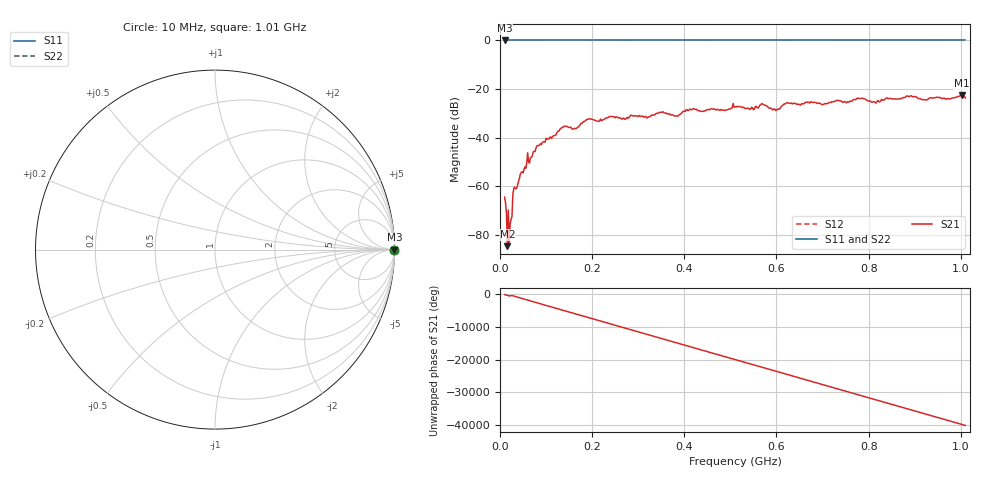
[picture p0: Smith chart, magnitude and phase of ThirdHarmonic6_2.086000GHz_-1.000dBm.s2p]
! 8/17/2025 12:58:29 AM
! C:\ANRITSUVNA\TEMP\TEMP.S2P
! CHANNEL.1
! TR.MEASUREMENT
! RAW.DATA
! RF.CORRECTION.OFF
! AVERAGING.OFF
! IF.BANDWIDTH: 5KHZ
! SWEEPTYPE:  FREQ.SWEEP(Linear)
! Reference Plane Port Info
! PORT:  PORT1  PORT2
! DISTANCE:  0  m  0  m
! TIME:  0  s  0  s
! PHASE.OFFSET:  0  deg.  0  deg.
! LOSS:  0  dB  0  dB
! REF.LOSS:  0  dB  0  dB
! REF.FREQ:  0  Hz  0  Hz
! Power Info
! POWER:  -20  dBm  -20  dBm
! EFF.POWER:  -20  dBm  -20  dBm
! SOURCE.ATTEN:  0  dB  0  dB
! TEST.ATTEN:  0  dB  0  dB
# GHZ S RI R 50.0
! FREQ.GHZ  S11RE  S11IM  S21RE  S21IM  S12RE  S12IM  S22RE  S22IM
!; PortSelection: Port_12
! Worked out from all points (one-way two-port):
!   501 points, 10 MHz to 1.01 GHz, reference 50 ohm
!   highest |S21| = -22.53 dB at 1.002 GHz (marker M1); lowest = -84.5 dB at 16 MHz (marker M2)
!   lowest |S11| = 0.0 dB at 10 MHz (marker M3)
!   |S11| at or under -10 dB: nowhere
!   |S22| runs from 0.0 to 0.0 dB; largest |S21 - S12| = 1.1
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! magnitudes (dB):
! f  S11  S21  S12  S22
! 10 MHz  0.0  -64.4  0.0  0.0
! 16 MHz  0.0  -84.5  0.0  0.0
! 20 MHz  0.0  -83.7  0.0  0.0
! 24 MHz  0.0  -73.6  0.0  0.0
! 32 MHz  0.0  -60.3  0.0  0.0
! 44 MHz  0.0  -54.9  0.0  0.0
! 82 MHz  0.0  -43.1  0.0  0.0
! 136 MHz  0.0  -35.8  0.0  0.0
! 162 MHz  0.0  -36.1  0.0  0.0
! 178 MHz  0.0  -34.1  0.0  0.0
! 344 MHz  0.0  -29.8  0.0  0.0
! 382 MHz  0.0  -31.0  0.0  0.0
! 416 MHz  0.0  -28.5  0.0  0.0
! 510 MHz  0.0  -27.2  0.0  0.0
! 546 MHz  0.0  -27.5  0.0  0.0
! 570 MHz  0.0  -26.2  0.0  0.0
! 602 MHz  0.0  -28.2  0.0  0.0
! 622 MHz  0.0  -25.7  0.0  0.0
! 678 MHz  0.0  -25.5  0.0  0.0
! 844 MHz  0.0  -24.0  0.0  0.0
! 1.002 GHz  0.0  -22.5  0.0  0.0
! 1.01 GHz  0.0  -23.6  0.0  0.0
